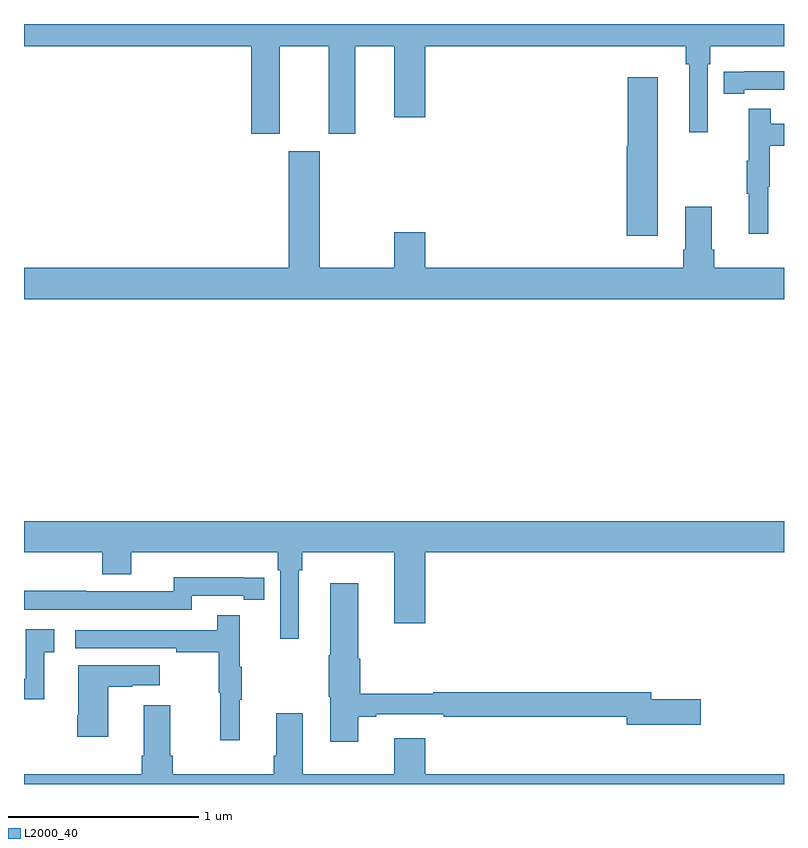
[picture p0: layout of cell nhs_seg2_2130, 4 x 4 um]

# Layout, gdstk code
import gdstk
lib = gdstk.Library(unit=1e-6, precision=1e-09)
def P(c, l, *ps):  # polygons
    for p in ps: c.add(gdstk.Polygon(p, *l))
L2000_40 = (2000, 40)

nhs_seg2_2130 = lib.new_cell('nhs_seg2_2130')
P(nhs_seg2_2130, L2000_40, [(225.112,599.684),(226.483,599.684),(226.483,599.588),(226.502,599.588),(226.502,599.229),(226.599,599.229),(226.599,599.588),(226.613,599.588),(226.613,599.684),(227,599.684),(227,599.8),(223,599.8),(223,599.684),(224.195,599.684),(224.195,599.223),(224.347,599.223),(224.347,599.684),(224.603,599.684),(224.603,599.223),(224.743,599.223),(224.743,599.684),(224.948,599.684),(224.948,599.31),(225.112,599.31)],
  [(226.792,599.454),(227,599.454),(227,599.551),(226.792,599.551),(226.792,599.55),(226.684,599.55),(226.684,599.434),(226.792,599.434)],
  [(226.336,599.521),(226.178,599.521),(226.178,599.157),(226.172,599.157),(226.172,598.686),(226.336,598.686)],
  [(226.916,598.944),(226.924,598.944),(226.924,599.158),(227,599.158),(227,599.274),(226.931,599.274),(226.931,599.353),(226.814,599.353),(226.814,599.081),(226.803,599.081),(226.803,598.907),(226.814,598.907),(226.814,598.695),(226.916,598.695)],
  [(227,598.516),(226.634,598.516),(226.634,598.612),(226.621,598.612),(226.621,598.837),(226.481,598.837),(226.481,598.612),(226.469,598.612),(226.469,598.516),(225.112,598.516),(225.112,598.705),(224.948,598.705),(224.948,598.516),(224.557,598.516),(224.557,599.131),(224.393,599.131),(224.393,598.516),(223,598.516),(223,598.352),(227,598.352)],
  [(224.446,596.924),(224.465,596.924),(224.465,597.02),(224.948,597.02),(224.948,596.646),(225.112,596.646),(225.112,597.02),(227,597.02),(227,597.184),(223,597.184),(223,597.02),(223.412,597.02),(223.412,596.903),(223.564,596.903),(223.564,597.02),(224.336,597.02),(224.336,596.924),(224.349,596.924),(224.349,596.565),(224.446,596.565)],
  [(223.884,596.79),(224.156,596.79),(224.156,596.77),(224.264,596.77),(224.264,596.886),(224.156,596.886),(224.156,596.887),(223.788,596.887),(223.788,596.814),(223.328,596.814),(223.328,596.816),(223,596.816),(223,596.718),(223.884,596.718)],
  [(224.758,596.154),(224.854,596.154),(224.854,596.166),(225.208,596.166),(225.208,596.154),(226.172,596.154),(226.172,596.111),(226.561,596.111),(226.561,596.246),(226.3,596.246),(226.3,596.282),(225.154,596.282),(225.154,596.275),(224.771,596.275),(224.771,596.459),(224.758,596.459),(224.758,596.857),(224.612,596.857),(224.612,596.477),(224.605,596.477),(224.605,596.259),(224.612,596.259),(224.612,596.022),(224.758,596.022)],
  [(224.135,596.243),(224.146,596.243),(224.146,596.417),(224.135,596.417),(224.135,596.689),(224.017,596.689),(224.017,596.61),(223.269,596.61),(223.269,596.514),(223.801,596.514),(223.801,596.494),(224.025,596.494),(224.025,596.28),(224.032,596.28),(224.032,596.031),(224.135,596.031)],
  [(223.106,596.493),(223.159,596.493),(223.159,596.614),(223.008,596.614),(223.008,596.355),(223,596.355),(223,596.247),(223.106,596.247)],
  [(223.444,596.311),(223.571,596.311),(223.571,596.321),(223.714,596.321),(223.714,596.425),(223.286,596.425),(223.286,596.161),(223.279,596.161),(223.279,596.049),(223.444,596.049)],
  [(227,595.852),(225.112,595.852),(225.112,596.041),(224.948,596.041),(224.948,595.852),(224.467,595.852),(224.467,596.173),(224.327,596.173),(224.327,595.948),(224.315,595.948),(224.315,595.852),(223.784,595.852),(223.784,595.948),(223.771,595.948),(223.771,596.215),(223.631,596.215),(223.631,595.948),(223.619,595.948),(223.619,595.852),(223,595.852),(223,595.8),(227,595.8)])

lib.write_gds('nhs_seg2_2130.gds')
